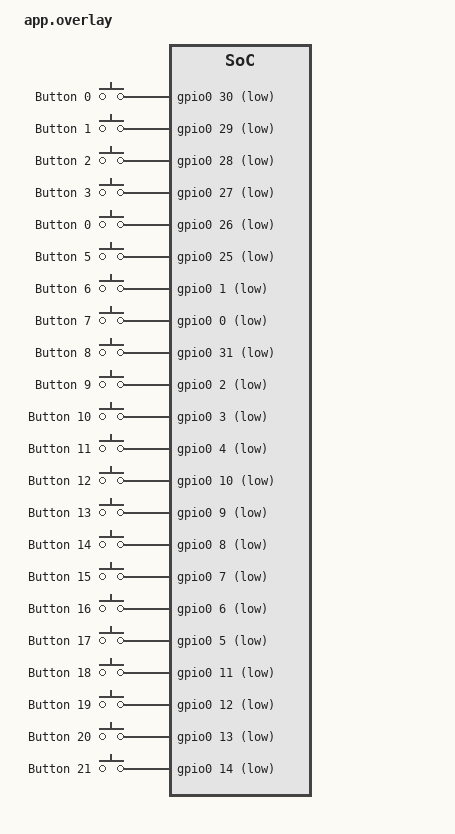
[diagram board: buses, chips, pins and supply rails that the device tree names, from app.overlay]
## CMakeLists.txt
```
cmake_minimum_required(VERSION 3.20.0)

# Option to choose keyboard side (left or right)
if(NOT DEFINED KEYBOARD_RIGHT AND DEFINED ENV{KEYBOARD_RIGHT})
    set(KEYBOARD_RIGHT $ENV{KEYBOARD_RIGHT} CACHE BOOL "Build for right keyboard half" FORCE)
endif()

if(KEYBOARD_RIGHT)
    message(STATUS "Enabling right overlay")
    set(DTC_OVERLAY_FILE app_right.overlay)
else()
    message(STATUS "Enabling left overlay")
    set(DTC_OVERLAY_FILE app_left.overlay)
endif()

find_package(Zephyr REQUIRED HINTS $ENV{ZEPHYR_BASE})

project(leaf_fall_keyboard)

if(KEYBOARD_RIGHT)
    message(STATUS "Enabling right compile option")
    target_compile_definitions(app PRIVATE KEYBOARD_RIGHT)
else()
    message(STATUS "Enabling left compile option")
    target_compile_definitions(app PRIVATE KEYBOARD_LEFT)
endif()

include_directories(config)

target_sources(app PRIVATE src/main.c)
```

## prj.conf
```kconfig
#
# Copyright (c) 2021 Nordic Semiconductor ASA
#
# SPDX-License-Identifier: LicenseRef-Nordic-5-Clause
#

# --- Enable Gazell ---
CONFIG_GZLL=y
CONFIG_GAZELL=y

# --- Enable gpio ---
CONFIG_GPIO=y

# --- Power management ---
CONFIG_NRFX_POWER=y

# --- Enable counter ---
CONFIG_COUNTER=y

# --- Use internal clock ---
CONFIG_CLOCK_CONTROL_NRF=y
CONFIG_CLOCK_CONTROL_NRF_K32SRC_RC=y

# --- Logging ---
# To enable logging, keep these set to 'n'
CONFIG_SERIAL=n
CONFIG_LOG_BACKEND_UART=n
CONFIG_UART_CONSOLE=n
CONFIG_SHELL_BACKEND_RTT=n
CONFIG_LOG_PROCESS_THREAD=n
# To enable logging, set these to 'y'
CONFIG_LOG=y
CONFIG_USE_SEGGER_RTT=y
CONFIG_LOG_BACKEND_RTT=y
CONFIG_LOG_MODE_IMMEDIATE=y
# CONFIG_LOG_MODE_DEFERRED=y
```

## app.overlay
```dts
/ {
    aliases {
        sw0 = &button0;
        sw1 = &button1;
        sw2 = &button2;
        sw3 = &button3;
        sw4 = &button4;
        sw5 = &button5;
        sw6 = &button6;
        sw7 = &button7;
        sw8 = &button8;
        sw9 = &button9;
        sw10 = &button10;
        sw11 = &button11;
        sw12 = &button12;
        sw13 = &button13;
        sw14 = &button14;
        sw15 = &button15;
        sw16 = &button16;
        sw17 = &button17;
        sw18 = &button18;
        sw19 = &button19;
        sw20 = &button20;
        sw21 = &button21;
    };

    buttons {
        compatible = "gpio-keys";

        button0: button_0 {
            gpios = <&gpio0 30 (GPIO_ACTIVE_LOW | GPIO_PULL_UP)>;
            label = "Button 0";
        };
        button1: button_1 {
            gpios = <&gpio0 29 (GPIO_ACTIVE_LOW | GPIO_PULL_UP)>;
            label = "Button 1";
        };
        button2: button_2 {
            gpios = <&gpio0 28 (GPIO_ACTIVE_LOW | GPIO_PULL_UP)>;
            label = "Button 2";
        };
        button3: button_3 {
            gpios = <&gpio0 27 (GPIO_ACTIVE_LOW | GPIO_PULL_UP)>;
            label = "Button 3";
        };
        button4: button_4 {
            gpios = <&gpio0 26 (GPIO_ACTIVE_LOW | GPIO_PULL_UP)>;
            label = "Button 0";
        };
        button5: button_5 {
            gpios = <&gpio0 25 (GPIO_ACTIVE_LOW | GPIO_PULL_UP)>;
            label = "Button 5";
        };
        button6: button_6 {
            gpios = <&gpio0 1 (GPIO_ACTIVE_LOW | GPIO_PULL_UP)>;
            label = "Button 6";
        };
        button7: button_7 {
            gpios = <&gpio0 0 (GPIO_ACTIVE_LOW | GPIO_PULL_UP)>;
            label = "Button 7";
        };
        button8: button_8 {
            gpios = <&gpio0 31 (GPIO_ACTIVE_LOW | GPIO_PULL_UP)>;
            label = "Button 8";
        };
        button9: button_9 {
            gpios = <&gpio0 2 (GPIO_ACTIVE_LOW | GPIO_PULL_UP)>;
            label = "Button 9";
        };
        button10: button_10 {
            gpios = <&gpio0 3 (GPIO_ACTIVE_LOW | GPIO_PULL_UP)>;
            label = "Button 10";
        };
        button11: button_11 {
            gpios = <&gpio0 4 (GPIO_ACTIVE_LOW | GPIO_PULL_UP)>;
            label = "Button 11";
        };
        button12: button_12 {
            gpios = <&gpio0 10 (GPIO_ACTIVE_LOW | GPIO_PULL_UP)>;
            label = "Button 12";
        };
        button13: button_13 {
            gpios = <&gpio0 9 (GPIO_ACTIVE_LOW | GPIO_PULL_UP)>;
            label = "Button 13";
        };
        button14: button_14 {
            gpios = <&gpio0 8 (GPIO_ACTIVE_LOW | GPIO_PULL_UP)>;
            label = "Button 14";
        };
        button15: button_15 {
            gpios = <&gpio0 7 (GPIO_ACTIVE_LOW | GPIO_PULL_UP)>;
            label = "Button 15";
        };
        button16: button_16 {
            gpios = <&gpio0 6 (GPIO_ACTIVE_LOW | GPIO_PULL_UP)>;
            label = "Button 16";
        };
        button17: button_17 {
            gpios = <&gpio0 5 (GPIO_ACTIVE_LOW | GPIO_PULL_UP)>;
            label = "Button 17";
        };
        button18: button_18 {
            gpios = <&gpio0 11 (GPIO_ACTIVE_LOW | GPIO_PULL_UP)>;
            label = "Button 18";
        };
        button19: button_19 {
            gpios = <&gpio0 12 (GPIO_ACTIVE_LOW | GPIO_PULL_UP)>;
            label = "Button 19";
        };
        button20: button_20 {
            gpios = <&gpio0 13 (GPIO_ACTIVE_LOW | GPIO_PULL_UP)>;
            label = "Button 20";
        };
        button21: button_21 {
            gpios = <&gpio0 14 (GPIO_ACTIVE_LOW | GPIO_PULL_UP)>;
            label = "Button 21";
        };
    };
};
```

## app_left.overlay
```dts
/ {
    aliases {
        sw0 = &button0;
        sw1 = &button1;
        sw2 = &button2;
        sw3 = &button3;
        sw4 = &button4;
        sw5 = &button5;
        sw6 = &button6;
        sw7 = &button7;
        sw8 = &button8;
        sw9 = &button9;
        sw10 = &button10;
        sw11 = &button11;
        sw12 = &button12;
        sw13 = &button13;
        sw14 = &button14;
        sw15 = &button15;
        sw16 = &button16;
        sw17 = &button17;
        sw18 = &button18;
        sw19 = &button19;
        sw20 = &button20;
        sw21 = &button21;
    };

    buttons {
        compatible = "gpio-keys";

        // First row, left to right
        button0: button_0 {
            gpios = <&gpio0 25 (GPIO_ACTIVE_LOW | GPIO_PULL_UP)>;
            label = "Button 0";
        };
        button1: button_1 {
            gpios = <&gpio0 26 (GPIO_ACTIVE_LOW | GPIO_PULL_UP)>;
            label = "Button 1";
        };
        button2: button_2 {
            gpios = <&gpio0 27 (GPIO_ACTIVE_LOW | GPIO_PULL_UP)>;
            label = "Button 2";
        };
        button3: button_3 {
            gpios = <&gpio0 28 (GPIO_ACTIVE_LOW | GPIO_PULL_UP)>;
            label = "Button 3";
        };
        button4: button_4 {
            gpios = <&gpio0 29 (GPIO_ACTIVE_LOW | GPIO_PULL_UP)>;
            label = "Button 4";
        };
        button5: button_5 {
            gpios = <&gpio0 30 (GPIO_ACTIVE_LOW | GPIO_PULL_UP)>;
            label = "Button 5";
        };

        // Second row, left to right
        button6: button_6 {
            gpios = <&gpio0 4 (GPIO_ACTIVE_LOW | GPIO_PULL_UP)>;
            label = "Button 6";
        };
        button7: button_7 {
            gpios = <&gpio0 3 (GPIO_ACTIVE_LOW | GPIO_PULL_UP)>;
            label = "Button 7";
        };
        button8: button_8 {
            gpios = <&gpio0 2 (GPIO_ACTIVE_LOW | GPIO_PULL_UP)>;
            label = "Button 8";
        };
        button9: button_9 {
            gpios = <&gpio0 31 (GPIO_ACTIVE_LOW | GPIO_PULL_UP)>;
            label = "Button 9";
        };
        button10: button_10 {
            gpios = <&gpio0 0 (GPIO_ACTIVE_LOW | GPIO_PULL_UP)>;
            label = "Button 10";
        };
        button11: button_11 {
            gpios = <&gpio0 1 (GPIO_ACTIVE_LOW | GPIO_PULL_UP)>;
            label = "Button 11";
        };

        // Third row, left to right
        button12: button_12 {
            gpios = <&gpio0 5 (GPIO_ACTIVE_LOW | GPIO_PULL_UP)>;
            label = "Button 12";
        };
        button13: button_13 {
            gpios = <&gpio0 6 (GPIO_ACTIVE_LOW | GPIO_PULL_UP)>;
            label = "Button 13";
        };
        button14: button_14 {
            gpios = <&gpio0 7 (GPIO_ACTIVE_LOW | GPIO_PULL_UP)>;
            label = "Button 14";
        };
        button15: button_15 {
            gpios = <&gpio0 8 (GPIO_ACTIVE_LOW | GPIO_PULL_UP)>;
            label = "Button 15";
        };
        button16: button_16 {
            gpios = <&gpio0 9 (GPIO_ACTIVE_LOW | GPIO_PULL_UP)>;
            label = "Button 16";
        };
        button17: button_17 {
            gpios = <&gpio0 10 (GPIO_ACTIVE_LOW | GPIO_PULL_UP)>;
            label = "Button 17";
        };

        // Fourth row, left to right
        button18: button_18 {
            gpios = <&gpio0 14 (GPIO_ACTIVE_LOW | GPIO_PULL_UP)>;
            label = "Button 18";
        };
        button19: button_19 {
            gpios = <&gpio0 13 (GPIO_ACTIVE_LOW | GPIO_PULL_UP)>;
            label = "Button 19";
        };
        button20: button_20 {
            gpios = <&gpio0 12 (GPIO_ACTIVE_LOW | GPIO_PULL_UP)>;
            label = "Button 20";
        };
        button21: button_21 {
            gpios = <&gpio0 11 (GPIO_ACTIVE_LOW | GPIO_PULL_UP)>;
            label = "Button 21";
        };

    };
};

&uicr {
    nfct-pins-as-gpios;
    /delete-property/ gpio-as-nreset;
};

&gpiote {
    status = "okay";
};

&gpio0 {
    sense-edge-mask = < 0xFFFFFFFF >;
};

&timer0 {
    status = "okay";
};
```

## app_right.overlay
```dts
/ {
    aliases {
        sw0 = &button0;
        sw1 = &button1;
        sw2 = &button2;
        sw3 = &button3;
        sw4 = &button4;
        sw5 = &button5;
        sw6 = &button6;
        sw7 = &button7;
        sw8 = &button8;
        sw9 = &button9;
        sw10 = &button10;
        sw11 = &button11;
        sw12 = &button12;
        sw13 = &button13;
        sw14 = &button14;
        sw15 = &button15;
        sw16 = &button16;
        sw17 = &button17;
        sw18 = &button18;
        sw19 = &button19;
        sw20 = &button20;
        sw21 = &button21;
        /delete-property/ led0;
        /delete-property/ led1;
        /delete-property/ led2;
        /delete-property/ led3;
        /delete-property/ pwm_led0;
        /delete-property/ mcuboot-button0;
        /delete-property/ mcuboot-led0;
        /delete-property/ watchdog0;
    };

    leds {
        /delete-property/ led0;
        /delete-property/ led1;
        /delete-property/ led2;
        /delete-property/ led3;
    };

    pwmleds {
        /delete-property/ pwm_led0;
    };

    buttons {
        compatible = "gpio-keys";

        // First row, left to right
        button0: button_0 {
            gpios = <&gpio0 15 (GPIO_ACTIVE_LOW | GPIO_PULL_UP)>;
            label = "Button 0";
        };
        button1: button_1 {
            gpios = <&gpio0 16 (GPIO_ACTIVE_LOW | GPIO_PULL_UP)>;
            label = "Button 1";
        };
        button2: button_2 {
            gpios = <&gpio0 17 (GPIO_ACTIVE_LOW | GPIO_PULL_UP)>;
            label = "Button 2";
        };
        button3: button_3 {
            gpios = <&gpio0 18 (GPIO_ACTIVE_LOW | GPIO_PULL_UP)>;
            label = "Button 3";
        };
        button4: button_4 {
            gpios = <&gpio0 19 (GPIO_ACTIVE_LOW | GPIO_PULL_UP)>;
            label = "Button 4";
        };
        button5: button_5 {
            gpios = <&gpio0 20 (GPIO_ACTIVE_LOW | GPIO_PULL_UP)>;
            label = "Button 5";
        };

        // Second row, left to right
        button6: button_6 {
            gpios = <&gpio0 9 (GPIO_ACTIVE_LOW | GPIO_PULL_UP)>;
            label = "Button 6";
        };
        button7: button_7 {
            gpios = <&gpio0 10 (GPIO_ACTIVE_LOW | GPIO_PULL_UP)>;
            label = "Button 7";
        };
        button8: button_8 {
            gpios = <&gpio0 14 (GPIO_ACTIVE_LOW | GPIO_PULL_UP)>;
            label = "Button 8";
        };
        button9: button_9 {
            gpios = <&gpio0 8 (GPIO_ACTIVE_LOW | GPIO_PULL_UP)>;
            label = "Button 9";
        };
        button10: button_10 {
            gpios = <&gpio0 7 (GPIO_ACTIVE_LOW | GPIO_PULL_UP)>;
            label = "Button 10";
        };
        button11: button_11 {
            gpios = <&gpio0 6 (GPIO_ACTIVE_LOW | GPIO_PULL_UP)>;
            label = "Button 11";
        };

        // Third row, left to right
        button12: button_12 {
            gpios = <&gpio0 0 (GPIO_ACTIVE_LOW | GPIO_PULL_UP)>;
            label = "Button 12";
        };
        button13: button_13 {
            gpios = <&gpio0 1 (GPIO_ACTIVE_LOW | GPIO_PULL_UP)>;
            label = "Button 13";
        };
        button14: button_14 {
            gpios = <&gpio0 2 (GPIO_ACTIVE_LOW | GPIO_PULL_UP)>;
            label = "Button 14";
        };
        button15: button_15 {
            gpios = <&gpio0 3 (GPIO_ACTIVE_LOW | GPIO_PULL_UP)>;
            label = "Button 15";
        };
        button16: button_16 {
            gpios = <&gpio0 4 (GPIO_ACTIVE_LOW | GPIO_PULL_UP)>;
            label = "Button 16";
        };
        button17: button_17 {
            gpios = <&gpio0 5 (GPIO_ACTIVE_LOW | GPIO_PULL_UP)>;
            label = "Button 17";
        };

        // Fourth row, left to right
        button18: button_18 {
            gpios = <&gpio0 31 (GPIO_ACTIVE_LOW | GPIO_PULL_UP)>;
            label = "Button 18";
        };
        button19: button_19 {
            gpios = <&gpio0 30 (GPIO_ACTIVE_LOW | GPIO_PULL_UP)>;
            label = "Button 19";
        };
        button20: button_20 {
            gpios = <&gpio0 29 (GPIO_ACTIVE_LOW | GPIO_PULL_UP)>;
            label = "Button 20";
        };
        button21: button_21 {
            gpios = <&gpio0 28 (GPIO_ACTIVE_LOW | GPIO_PULL_UP)>;
            label = "Button 21";
        };
    };
};

&uicr {
    nfct-pins-as-gpios;
    /delete-property/ gpio-as-nreset;
};

&gpiote {
    status = "okay";
};

&gpio0 {
    sense-edge-mask = < 0xFFFFFFFF >;
};

&timer0 {
    status = "okay";
};
```

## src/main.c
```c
#include <zephyr/kernel.h>
#include <zephyr/device.h>
#include <zephyr/drivers/gpio.h>
#include <zephyr/drivers/counter.h>
#include <zephyr/irq.h>
#include <zephyr/logging/log.h>
#include <zephyr/sys/atomic.h>
#include <zephyr/spinlock.h>
#include <string.h>

#include <nrfx_power.h>
#include <nrf_gzll.h>
#include <gzll_glue.h>
#include "leaf_fold.h"

LOG_MODULE_REGISTER(main, LOG_LEVEL_DBG); // Use DBG for RTT logs

#define WORKQ_PRIORITY K_PRIO_PREEMPT(0)
#define WORKQ_STACK_SIZE 1024

#define DEBOUNCE_TICKS 5

/* Define the number of buttons we are polling. */
#define NUM_BUTTONS 22
#define HALF_NUM_BITS NUM_BUTTONS + 1 // Total bits needed (22 buttons + 1 power alert bit)

/* Number of bytes needed to represent NUM_BUTTONS bits */
#define TX_PAYLOAD_LENGTH (HALF_NUM_BITS + 7) / 8

/* Maximum number of transmission attempts */
#define MAX_TX_ATTEMPTS 100

/* Sleep settings for power saving */
#define INACTIVITY_TIMEOUT_LIGHT_SLEEP_TICKS 1500  // ~1.5 seconds
#define INACTIVITY_TIMEOUT_HEAVY_SLEEP_TICKS 10000 // ~10 seconds

#define KEEPALIVE_TICKS 1250 // 8Hz ticks for keepalive packets, but implemented as debounce ticks

/* CR2032 low-power threshold and power alert state */
#define LOW_POWER_POF_THRESHOLD NRF_POWER_POFTHR_V19
static atomic_t low_power_alert = ATOMIC_INIT(0);
// static bool low_power_alert = false;

const struct device *port = DEVICE_DT_GET(DT_NODELABEL(gpio0));

const struct device *counter_dev = DEVICE_DT_GET(DT_NODELABEL(timer0));
struct gpio_callback gpio_callback_struct;

/* Power state machine */
enum power_mode {
    POWER_MODE_HIGH,
    POWER_MODE_MEDIUM,
    POWER_MODE_SLEEP
};
static enum power_mode current_power_mode = POWER_MODE_HIGH;
static atomic_t inactivity_counter_ticks = ATOMIC_INIT(0);
// static int inactivity_counter_ticks = 0;

static uint32_t debounce_ticks = 0;
static atomic_t keepalive_ticks = ATOMIC_INIT(0);
// static int keepalive_ticks = 0;
static volatile bool debouncing = false;

/*
 * Create an array of gpio_dt_spec structs, initialized using the
 * aliases from the app.overlay file (sw0, sw1, ... sw16).
 */
static const struct gpio_dt_spec buttons[NUM_BUTTONS] = {
    GPIO_DT_SPEC_GET(DT_ALIAS(sw0), gpios),
    GPIO_DT_SPEC_GET(DT_ALIAS(sw1), gpios),
    GPIO_DT_SPEC_GET(DT_ALIAS(sw2), gpios),
    GPIO_DT_SPEC_GET(DT_ALIAS(sw3), gpios),
    GPIO_DT_SPEC_GET(DT_ALIAS(sw4), gpios),
    GPIO_DT_SPEC_GET(DT_ALIAS(sw5), gpios),
    GPIO_DT_SPEC_GET(DT_ALIAS(sw6), gpios),
    GPIO_DT_SPEC_GET(DT_ALIAS(sw7), gpios),
    GPIO_DT_SPEC_GET(DT_ALIAS(sw8), gpios),
    GPIO_DT_SPEC_GET(DT_ALIAS(sw9), gpios),
    GPIO_DT_SPEC_GET(DT_ALIAS(sw10), gpios),
    GPIO_DT_SPEC_GET(DT_ALIAS(sw11), gpios),
    GPIO_DT_SPEC_GET(DT_ALIAS(sw12), gpios),
    GPIO_DT_SPEC_GET(DT_ALIAS(sw13), gpios),
    GPIO_DT_SPEC_GET(DT_ALIAS(sw14), gpios),
    GPIO_DT_SPEC_GET(DT_ALIAS(sw15), gpios),
    GPIO_DT_SPEC_GET(DT_ALIAS(sw16), gpios),
    GPIO_DT_SPEC_GET(DT_ALIAS(sw17), gpios),
    GPIO_DT_SPEC_GET(DT_ALIAS(sw18), gpios),
    GPIO_DT_SPEC_GET(DT_ALIAS(sw19), gpios),
    GPIO_DT_SPEC_GET(DT_ALIAS(sw20), gpios),
    GPIO_DT_SPEC_GET(DT_ALIAS(sw21), gpios),
};

/* State variables to hold the current and debounce state of all buttons. */
static uint32_t current_key_states = 0;
static uint32_t debounce_key_states = 0;
static struct k_spinlock key_state_lock;
static struct k_spinlock key_read_lock;

/* Gazell Link Layer TX result structure */
struct gzll_tx_result {
    bool success;
    uint32_t pipe;
    nrf_gzll_device_tx_info_t info;
};

/* Placeholder for received ACK payloads from Host. */
static uint8_t ack_payload[NRF_GZLL_CONST_MAX_PAYLOAD_LENGTH];

// struct gzll_tx_result_node {
//     void *fifo_reserved;
//     struct gzll_tx_result tx_result;
// };

// K_FIFO_DEFINE(gzll_tx_result_fifo);
// K_FIFO_DEFINE(gzll_tx_result_free_fifo);
/* Gazell Link Layer TX result message queue */
K_MSGQ_DEFINE(gzll_rx_msgq,
          sizeof(struct gzll_tx_result),
          1,
          sizeof(uint32_t));

// static struct gzll_tx_result_node gzll_tx_result_nodes[4];

/* Work items */
static K_THREAD_STACK_DEFINE(worker_stack, WORKQ_STACK_SIZE);
static struct k_thread worker_thread;
static struct k_sem main_sem;
static struct k_sem counter_sem;
static struct k_work gzll_results_work;
static struct k_work send_packet_work;

/* Gazell Link Layer function prototypes */
static void gzll_tx_result_handler(struct gzll_tx_result *tx_result);
static void gzll_results_work_handler(struct k_work *work);
static void send_packet_work_handler(struct k_work *work);
static void worker_thread_fn(void *p1, void *p2, void *p3);

// Interrupt handler prototypes
void button_handler(const struct device *dev, struct gpio_callback *cb, uint32_t pins);
void power_warn_event_handler(void);
void counter_handler(const struct device *dev, void *user_data);
void debounce_work_handler(struct k_work *work);
void inactivity_work_handler(struct k_work *work);
void keepalive_work_handler(struct k_work *work);

// power failure warning configuration
nrfx_power_pofwarn_config_t pof_config = {
    .handler = power_warn_event_handler,
    .thr = LOW_POWER_POF_THRESHOLD
};

static inline uint32_t read_keys(bool print_keys)
{
    k_spinlock_key_t key = k_spin_lock(&key_read_lock);
    // nrf_gpio_port_in_read() can read the entire port of GPIOs at once
    // We can use this to read all buttons in one go, then update the keystate buffer
    uint32_t raw_input = 0;
    int result = gpio_port_get(port, &raw_input);
    if (result != 0) {
        LOG_ERR("Failed to read GPIO port: %d", result);
        return 0; // Return all keys unpressed on error
    }

    if (print_keys) {
        LOG_INF("Raw GPIO before mask: 0x%08X; INPUT_MASK: 0x%08X", raw_input, INPUT_MASK);
    }
    result = raw_input & INPUT_MASK;
    if (print_keys) {
        LOG_INF("Masked read key states: 0x%08X", result);
    }
    k_spin_unlock(&key_read_lock, key);
    return result;
}

// Initialize pof event configuration
static void power_failure_init(void)
{
    nrfx_power_pof_init(&pof_config);
    nrfx_power_pof_enable(&pof_config);
}

// Initialize gazell link layer configuration
void gazell_init() {
    bool result_value;

    k_work_init(&gzll_results_work, gzll_results_work_handler);
    k_work_init(&send_packet_work, send_packet_work_handler);

    result_value = gzll_glue_init();
    if (!result_value) {
        LOG_ERR("Cannot initialize GZLL glue code");
        return;
    }

    result_value = nrf_gzll_init(NRF_GZLL_MODE_DEVICE);
    if (!result_value) {
        LOG_ERR("Cannot initialize GZLL");
        return;
    }

    // for (int i = 0; i < (int)(sizeof(gzll_tx_result_nodes) / sizeof(gzll_tx_result_nodes[0])); i++) {
    //     k_fifo_put(&gzll_tx_result_free_fifo, &gzll_tx_result_nodes[i]);
    // }

    // --- Set Base Addresses (from our previous fix) ---
    nrf_gzll_set_base_address_0(0x01020304);
    nrf_gzll_set_base_address_1(0x05060708);
    // This sender (left) uses Pipe 0, which defaults to base_address_0
    
    nrf_gzll_set_max_tx_attempts(MAX_TX_ATTEMPTS);

    result_value = nrf_gzll_enable();
    if (!result_value) {
        LOG_ERR("Cannot enable GZLL");
        return;
    }

    // --- NEW: Set initial power mode ---
    nrf_gzll_set_tx_power(NRF_GZLL_TX_POWER_0_DBM); // 0dBm is max power
    current_power_mode = POWER_MODE_HIGH;
    LOG_INF("Gzll device started in HIGH POWER mode (Pipe %d).", PIPE_NUMBER);
}

// Initialize counter to handle key state changes, debouncing, and inactivity timeouts
void counter_config(void)
{
    int err;
    k_sem_init(&counter_sem, 0, 1000);
    k_thread_create(&worker_thread, worker_stack, WORKQ_STACK_SIZE,
                    worker_thread_fn, NULL, NULL, NULL,
                    WORKQ_PRIORITY, 0, K_NO_WAIT);
    k_thread_name_set(&worker_thread, "key_worker");
    LOG_INF("Worker thread created with priority %d", WORKQ_PRIORITY);
    k_work_init(&send_packet_work, send_packet_work_handler);

    struct counter_top_cfg counter_config = {
        .callback = counter_handler,
        .ticks = 16000, // 16Mhz clock so 16000 ticks = 1 ms
        .user_data = NULL,
        .flags = COUNTER_TOP_CFG_RESET_WHEN_LATE | COUNTER_CONFIG_INFO_COUNT_UP
    };

    if (!device_is_ready(counter_dev)) {
        LOG_ERR("Counter device is not ready");
        return;
    }

    err = counter_set_top_value(counter_dev, &counter_config);
    if (err < 0) {
        LOG_ERR("Counter device failed to set: %d", err);
        return;
    }
    err = counter_start(counter_dev);
    if (err < 0) {
        LOG_ERR("Counter device failed to start: %d", err);
        return;
    }

    LOG_INF("Counter started successfully");
}

// Initialize GPIOTE to wake up on button presses if we are in sleep mode
void gpio_config(void)
{
    if (!device_is_ready(port)) {
        LOG_ERR("GPIO port is not ready");
    }
    // New implementation using Zephyr's GPIO API with interrupts for simplicity and reliability
    for (int i = 0; i < NUM_BUTTONS; i++) {
        if (!gpio_is_ready_dt(&buttons[i])) {
            LOG_ERR("GPIO device for button %d is not ready", i);
            continue;
        }

        int err = gpio_pin_configure_dt(&buttons[i], GPIO_INPUT);
        if (err != 0) {
            LOG_ERR("Failed to configure GPIO pin %d: %d", buttons[i].pin, err);
            continue;
        }
        LOG_INF("Configured button %d pin %d flags=0x%08X", i, buttons[i].pin, buttons[i].dt_flags);
        // Set up the interrupt for every pin. NRF chips can only do this on 6 pins unless using edge sense,
        // so be sure to set this in your overlay for your gpio (replacing the mask with the pins you need):
        // sense-edge-mask = < 0xF01FC7FF >;
        err = gpio_pin_interrupt_configure_dt(&buttons[i], GPIO_INT_EDGE_BOTH);
        if (err < 0) {
            LOG_ERR("Failed to configure interrupt for GPIO pin %d: %d", buttons[i].pin, err);
            continue;
        }
    }
    // Set the same button_handler for all button interrupts
    gpio_init_callback(&gpio_callback_struct, button_handler, INPUT_MASK);
    gpio_add_callback(port, &gpio_callback_struct);
}

int main(void)
// void thread0(void)
{
    // Initialize pof, gazell, rtc, and gpiote subsystems
    LOG_INF("Starting Leaf Fall Keyboard...");
    LOG_INF("using input mask: 0x%08X", INPUT_MASK);
    LOG_INF("Setting up POF warning");
    power_failure_init();
    k_sem_init(&main_sem, 0, 1000);
    LOG_INF("Initializing Gazell");
    gazell_init();
    LOG_INF("Configuring Counter");
    counter_config();
    LOG_INF("Configuring GPIOTE");
    gpio_config();
    printk("Main loop initialized.\n");
    // manual_isr_setup();

    // k_work_submit(&send_packet_work);
    // send_packet_work_handler(NULL);

    /*
     * The main loop just waits for events
     */
    LOG_INF("Entering main loop, waiting for events...");
    while (true) {
        k_sem_take(&main_sem, K_FOREVER);
        k_cpu_idle();
        // k_cpu_idle(); // Use Zephyr's idle function to allow for power management and event handling
        // k_msleep(10);
    }
    return 0;
}

/* ---- Interrupt Handlers ---- */
void power_warn_event_handler(void)
{
    // We'll leave this on unconditionally.
    // If the battery is replaced, the flag will be false again on power up
    atomic_set(&low_power_alert, 1);
    // low_power_alert = true;
}

static inline void wake_up_from_sleep()
{
    if (current_power_mode != POWER_MODE_SLEEP && current_power_mode != POWER_MODE_MEDIUM) {
        return;
    }
    if (current_power_mode == POWER_MODE_SLEEP) {
        // Rise from full sleep to medium power
        nrf_gzll_enable();
        counter_start(counter_dev);
    }
    // Rise from medium power to high power
    nrf_gzll_set_tx_power(NRF_GZLL_TX_POWER_0_DBM);
    current_power_mode = POWER_MODE_HIGH;
}

void button_handler(const struct device *port, struct gpio_callback *cb, uint32_t pins)
{
    ARG_UNUSED(port);
    ARG_UNUSED(cb);
    LOG_INF("Button event detected on pins 0x%08X", pins);
    wake_up_from_sleep();
    k_spinlock_key_t key = k_spin_lock(&key_state_lock);
    debouncing = true;
    debounce_ticks = 0;
    k_spin_unlock(&key_state_lock, key);
}

/* ---- Tick Handlers ---- */

// Send key states at 8hz keepalive interval even w/o key changes
void keepalive_handler()
{
    // send_packet_work_handler(NULL);
    k_work_submit(&send_packet_work);
}

// Handle debouncing key presses and sleep logic for inactivity
void counter_handler(const struct device *dev, void *user_data)
{
    ARG_UNUSED(dev);
    ARG_UNUSED(user_data);
    // LOG_DBG("counter_handler fired");
    k_sem_give(&counter_sem);
}

void debounce_work_handler(struct k_work *work)
{
    k_spinlock_key_t key = k_spin_lock(&key_state_lock);
    // LOG_INF("debounce work handler");
    if (debouncing) {
        uint32_t current_read_keys = read_keys(false);
        if (debounce_key_states != current_read_keys) {
            debounce_key_states = current_read_keys;
            debounce_ticks = 0;
            LOG_INF("Detected key change, resetting debounce. key states: 0x%08X", debounce_key_states);
        } else {
            debounce_ticks++;
            if (debounce_ticks >= DEBOUNCE_TICKS) {
                debouncing = false;
                debounce_ticks = 0;
                current_key_states = debounce_key_states;
                LOG_INF("Debounce complete. key states: 0x%08X", current_key_states);
                // send_packet_work_handler(NULL);
                k_work_submit(&send_packet_work);
            }
        }
    }
    k_spin_unlock(&key_state_lock, key);

    // check_inactivity_timeout();
}

// void check_inactivity_timeout()
void inactivity_work_handler(struct k_work *work)
{

    if (read_keys(false) != 0) {
        // If any key is pressed, reset the inactivity counter and ensure we're in high power mode
        atomic_set(&inactivity_counter_ticks, 0);
        // inactivity_counter_ticks = 0;
        // LOG_INF("Activity detected. Resetting inactivity counter.");
        return;
    }

    atomic_inc(&inactivity_counter_ticks);
    // inactivity_counter_ticks++;

    if (atomic_get(&inactivity_counter_ticks) <= INACTIVITY_TIMEOUT_LIGHT_SLEEP_TICKS) {
    // if (inactivity_counter_ticks <= INACTIVITY_TIMEOUT_LIGHT_SLEEP_TICKS) {
        return;
    }
    atomic_set(&inactivity_counter_ticks, 0);
    // inactivity_counter_ticks = 0;

    /*
    if (current_power_mode == POWER_MODE_HIGH) {
        // Reduce transmit power to save battery
        LOG_INF("Inactivity detected. Setting MEDIUM power mode.");
        nrf_gzll_set_tx_power(NRF_GZLL_TX_POWER_N8_DBM); // Reduce power to -4dBm
        current_power_mode = POWER_MODE_MEDIUM;
    } else if (current_power_mode == POWER_MODE_MEDIUM && atomic_get(&inactivity_counter_ticks) >= INACTIVITY_TIMEOUT_HEAVY_SLEEP_TICKS) {
        // Reduce power to minimum -- wakes up on GPIO event
        LOG_INF("Extended inactivity detected. Setting SLEEP mode.");
        nrf_gzll_set_tx_power(NRF_GZLL_TX_POWER_N8_DBM);
        nrf_gzll_disable();
        current_power_mode = POWER_MODE_SLEEP;
        counter_stop(counter_dev);
    }
    */
}

void keepalive_work_handler(struct k_work *work)
{
    atomic_inc(&keepalive_ticks);
    // keepalive_ticks++;
    // if (keepalive_ticks >= KEEPALIVE_TICKS) {
    //     keepalive_ticks = 0;
    //     keepalive_handler();
    // }
    if (atomic_get(&keepalive_ticks) >= KEEPALIVE_TICKS) {
        atomic_set(&keepalive_ticks, 0);
        keepalive_handler();
    }
}
// Helper function to get the state of a key from the data payload
// Used for logging the state of keys based on the payload we're sending
// inline the function to avoid function call overhead since this will be called for every key in the sent payload
/*inline bool get_keystate(uint8_t *data_payload, size_t key_index)
{
    size_t byte_index = key_index / 8;
    size_t bit_index = key_index % 8;

    return (data_payload[byte_index] & (1 << bit_index)) != 0;
}*/


static void send_packet_work_handler(struct k_work *work)
{
    ARG_UNUSED(work);
    bool result_value;
    /* Payload to send to Host is now NUM_BUTTONS bytes long. */
    uint8_t data_payload[TX_PAYLOAD_LENGTH] = {0}; // Initialize all bytes to 0

    // If we're asleep, wake up and set to high power
    wake_up_from_sleep();

    k_spinlock_key_t key = k_spin_lock(&key_state_lock);
    uint32_t key_states = current_key_states;
    k_spin_unlock(&key_state_lock, key);
    bool low_power = atomic_get(&low_power_alert);
    // bool low_power = false;
    // Update the payload based on the current key states.
    data_payload[0] = ((key_states & (1<<S00)) ? 1 : 0) << 7 |
                       ((key_states & (1<<S01)) ? 1 : 0) << 6 | 
                       ((key_states & (1<<S02)) ? 1 : 0) << 5 | 
                       ((key_states & (1<<S03)) ? 1 : 0) << 4 |
                       ((key_states & (1<<S04)) ? 1 : 0) << 3 | 
                       ((key_states & (1<<S05)) ? 1 : 0) << 2 |
                       ((key_states & (1<<S06)) ? 1 : 0) << 1 | 
                       ((key_states & (1<<S07)) ? 1 : 0);
    data_payload[1] = ((key_states & (1<<S08)) ? 1 : 0) << 7 | 
                       ((key_states & (1<<S09)) ? 1 : 0) << 6 | 
                       ((key_states & (1<<S10)) ? 1 : 0) << 5 |
                       ((key_states & (1<<S11)) ? 1 : 0) << 4 |
                       ((key_states & (1<<S12)) ? 1 : 0) << 3 |
                       ((key_states & (1<<S13)) ? 1 : 0) << 2 |
                       ((key_states & (1<<S14)) ? 1 : 0) << 1 |
                       ((key_states & (1<<S15)) ? 1 : 0);
    data_payload[2] = ((key_states & (1<<S16)) ? 1 : 0) << 7 |
                       ((key_states & (1<<S17)) ? 1 : 0) << 6 |
                       ((key_states & (1<<S18)) ? 1 : 0) << 5 |
                       ((key_states & (1<<S19)) ? 1 : 0) << 4 |
                       ((key_states & (1<<S20)) ? 1 : 0) << 3 |
                       ((key_states & (1<<S21)) ? 1 : 0) << 2 |
                       ((low_power) ? 1 : 0) << 1 | // Power alert bit
                       (0); // Padding bit

    /* Build the log string based on the (correct) packet data */
    // char state_string[NUM_BUTTONS + 1];
    // for (int i = 0; i <= NUM_BUTTONS; i++) {
    //     state_string[i] = (get_keystate(data_payload, i)) ? '1' : '0';
    // }
    // state_string[NUM_BUTTONS] = '\0';

    LOG_INF("Sending 3 bytes: [0x%02x 0x%02x 0x%02x]", data_payload[0], data_payload[1], data_payload[2]);

    /* Send the entire data_payload (NUM_BUTTONS bytes). */
    result_value = nrf_gzll_add_packet_to_tx_fifo(PIPE_NUMBER,
                            data_payload,
                            NUM_BUTTONS);
    if (!result_value) {
        LOG_ERR("TX fifo error");
    }
}

static void gzll_device_report_tx(bool success,
                  uint32_t pipe,
                  nrf_gzll_device_tx_info_t *tx_info)
{
    int err;
    struct gzll_tx_result tx_result = {
        .success = success,
        .pipe = pipe,
        .info = *tx_info
    };

    err = k_msgq_put(&gzll_rx_msgq, &tx_result, K_NO_WAIT);
    if (err != 0) {
        LOG_ERR("Failed to put TX result in message queue: %d", err);
        return;
    }
    k_work_submit(&gzll_results_work);
}

void nrf_gzll_device_tx_success(uint32_t pipe, nrf_gzll_device_tx_info_t tx_info)
{
    gzll_device_report_tx(true, pipe, &tx_info);
}

void nrf_gzll_device_tx_failed(uint32_t pipe, nrf_gzll_device_tx_info_t tx_info)
{
    LOG_WRN("TX failed from callback!");
    gzll_device_report_tx(false, pipe, &tx_info);
}

void nrf_gzll_disabled(void)
{
}

void nrf_gzll_host_rx_data_ready(uint32_t pipe, nrf_gzll_host_rx_info_t rx_info)
{
}

static void gzll_results_work_handler(struct k_work *work)
{
    struct gzll_tx_result tx_result;

    while ((k_msgq_get(&gzll_rx_msgq, &tx_result, K_NO_WAIT) == 0)) {
        gzll_tx_result_handler(&tx_result);
    }

    k_sem_give(&main_sem);
}

static void worker_thread_fn(void *p1, void *p2, void *p3)
{
    ARG_UNUSED(p1);
    ARG_UNUSED(p2);
    ARG_UNUSED(p3);

    LOG_INF("Worker thread starting...");
    while (true) {
        k_sem_take(&counter_sem, K_FOREVER);
        // LOG_INF("Worker thread processing...");
        debounce_work_handler(NULL);
        inactivity_work_handler(NULL);
        keepalive_work_handler(NULL);
    }
}

static void gzll_tx_result_handler(struct gzll_tx_result *tx_result)
{
    bool result_value;
    uint32_t ack_payload_length = NRF_GZLL_CONST_MAX_PAYLOAD_LENGTH;

    if (tx_result->success) {
        LOG_INF("Gazell transmission successful.");
        if (tx_result->info.payload_received_in_ack) {
            result_value = nrf_gzll_fetch_packet_from_rx_fifo(tx_result->pipe,
                                          ack_payload,
                                          &ack_payload_length);
            if (!result_value) {
                LOG_ERR("RX fifo error");
            } else if (ack_payload_length > 0) {
                LOG_INF("ACK payload received. LED state would be: 0x%02x", ack_payload[0]);
            }
        }
    } else {
        LOG_ERR("Gazell transmission failed.");
    }
}
```
